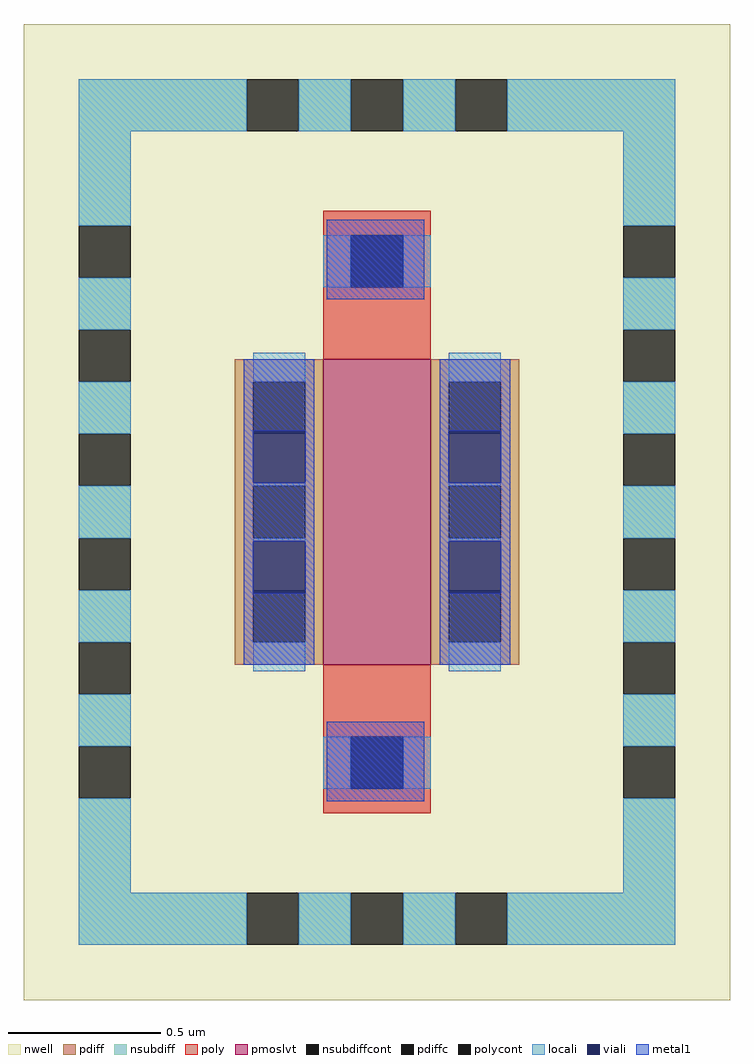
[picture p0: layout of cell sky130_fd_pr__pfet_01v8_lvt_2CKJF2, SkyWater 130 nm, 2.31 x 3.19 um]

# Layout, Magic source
magic
tech sky130A
magscale 1 2
<< metal1 >>
rect -32 140 32 192
rect -32 -188 32 -136
use sky130_fd_pr__pfet_01v8_lvt_YTP334  sky130_fd_pr__pfet_01v8_lvt_YTP334_0
transform 1 0 1 0 1 1
box -231 -319 231 319
<< properties >>
string gencell sky130_fd_pr__pfet_01v8_lvt
string FIXED_BBOX -178 -266 178 266
string parameters w 1 l 0.35 m 1 nf 1 diffcov 100 polycov 100 guard 1 glc 1 grc 1 gtc 1 gbc 1 tbcov 100 rlcov 100 topc 1 botc 1 poverlap 0 doverlap 1 lmin 0.35 wmin 0.42 compatible {sky130_fd_pr__pfet_01v8  sky130_fd_pr__pfet_01v8_lvt sky130_fd_pr__pfet_01v8_hvt  sky130_fd_pr__pfet_g5v0d10v5} full_metal 1
string library sky130
<< end >>

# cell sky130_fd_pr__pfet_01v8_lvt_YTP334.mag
magic
tech sky130A
magscale 1 2
<< nwell >>
rect -231 -319 231 319
<< pmoslvt >>
rect -35 -100 35 100
<< pdiff >>
rect -93 85 -35 100
rect -93 51 -81 85
rect -47 51 -35 85
rect -93 17 -35 51
rect -93 -17 -81 17
rect -47 -17 -35 17
rect -93 -51 -35 -17
rect -93 -85 -81 -51
rect -47 -85 -35 -51
rect -93 -100 -35 -85
rect 35 85 93 100
rect 35 51 47 85
rect 81 51 93 85
rect 35 17 93 51
rect 35 -17 47 17
rect 81 -17 93 17
rect 35 -51 93 -17
rect 35 -85 47 -51
rect 81 -85 93 -51
rect 35 -100 93 -85
<< pdiffc >>
rect -81 51 -47 85
rect -81 -17 -47 17
rect -81 -85 -47 -51
rect 47 51 81 85
rect 47 -17 81 17
rect 47 -85 81 -51
<< nsubdiff >>
rect -195 249 -85 283
rect -51 249 -17 283
rect 17 249 51 283
rect 85 249 195 283
rect -195 187 -161 249
rect -195 119 -161 153
rect 161 187 195 249
rect 161 119 195 153
rect -195 51 -161 85
rect -195 -17 -161 17
rect -195 -85 -161 -51
rect 161 51 195 85
rect 161 -17 195 17
rect 161 -85 195 -51
rect -195 -153 -161 -119
rect -195 -249 -161 -187
rect 161 -153 195 -119
rect 161 -249 195 -187
rect -195 -283 -85 -249
rect -51 -283 -17 -249
rect 17 -283 51 -249
rect 85 -283 195 -249
<< nsubdiffcont >>
rect -85 249 -51 283
rect -17 249 17 283
rect 51 249 85 283
rect -195 153 -161 187
rect -195 85 -161 119
rect 161 153 195 187
rect -195 17 -161 51
rect -195 -51 -161 -17
rect -195 -119 -161 -85
rect 161 85 195 119
rect 161 17 195 51
rect 161 -51 195 -17
rect -195 -187 -161 -153
rect 161 -119 195 -85
rect 161 -187 195 -153
rect -85 -283 -51 -249
rect -17 -283 17 -249
rect 51 -283 85 -249
<< poly >>
rect -35 181 35 197
rect -35 147 -17 181
rect 17 147 35 181
rect -35 100 35 147
rect -35 -147 35 -100
rect -35 -181 -17 -147
rect 17 -181 35 -147
rect -35 -197 35 -181
<< polycont >>
rect -17 147 17 181
rect -17 -181 17 -147
<< locali >>
rect -195 249 -85 283
rect -51 249 -17 283
rect 17 249 51 283
rect 85 249 195 283
rect -195 187 -161 249
rect 161 187 195 249
rect -195 119 -161 153
rect -35 147 -17 181
rect 17 147 35 181
rect 161 119 195 153
rect -195 51 -161 85
rect -195 -17 -161 17
rect -195 -85 -161 -51
rect -81 85 -47 104
rect -81 17 -47 19
rect -81 -19 -47 -17
rect -81 -104 -47 -85
rect 47 85 81 104
rect 47 17 81 19
rect 47 -19 81 -17
rect 47 -104 81 -85
rect 161 51 195 85
rect 161 -17 195 17
rect 161 -85 195 -51
rect -195 -153 -161 -119
rect -35 -181 -17 -147
rect 17 -181 35 -147
rect 161 -153 195 -119
rect -195 -249 -161 -187
rect 161 -249 195 -187
rect -195 -283 -85 -249
rect -51 -283 -17 -249
rect 17 -283 51 -249
rect 85 -283 195 -249
<< viali >>
rect -17 147 17 181
rect -81 51 -47 53
rect -81 19 -47 51
rect -81 -51 -47 -19
rect -81 -53 -47 -51
rect 47 51 81 53
rect 47 19 81 51
rect 47 -51 81 -19
rect 47 -53 81 -51
rect -17 -181 17 -147
<< metal1 >>
rect -31 181 31 187
rect -31 147 -17 181
rect 17 147 31 181
rect -31 141 31 147
rect -87 53 -41 100
rect -87 19 -81 53
rect -47 19 -41 53
rect -87 -19 -41 19
rect -87 -53 -81 -19
rect -47 -53 -41 -19
rect -87 -100 -41 -53
rect 41 53 87 100
rect 41 19 47 53
rect 81 19 87 53
rect 41 -19 87 19
rect 41 -53 47 -19
rect 81 -53 87 -19
rect 41 -100 87 -53
rect -31 -147 31 -141
rect -31 -181 -17 -147
rect 17 -181 31 -147
rect -31 -187 31 -181
<< properties >>
string FIXED_BBOX -178 -266 178 266
<< end >>
